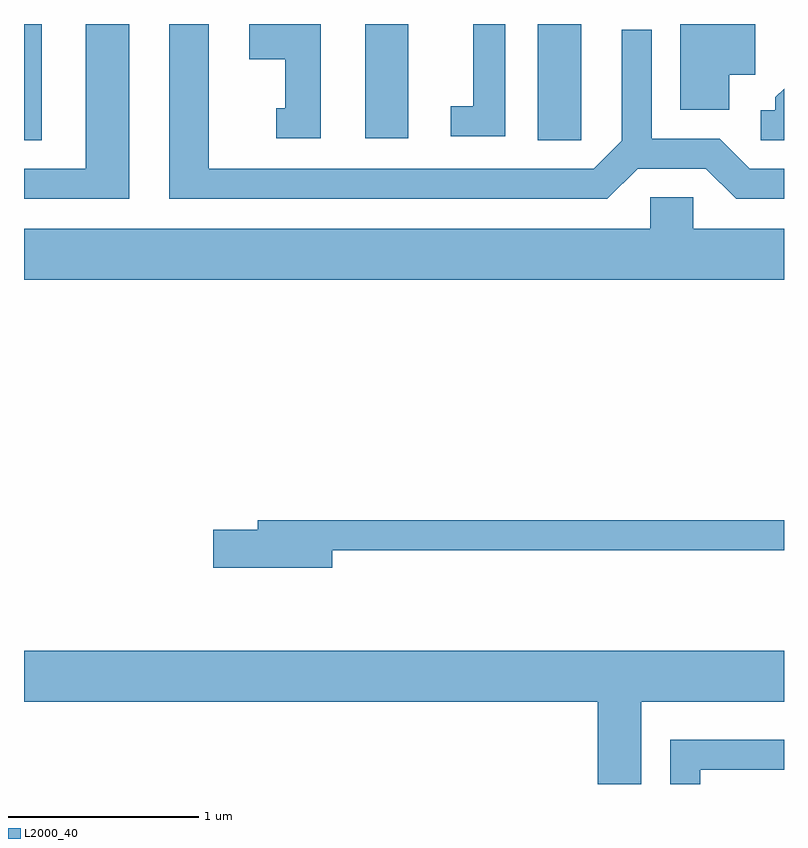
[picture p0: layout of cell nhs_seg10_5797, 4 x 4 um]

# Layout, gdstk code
import gdstk
lib = gdstk.Library(unit=1e-6, precision=1e-09)
def R(c, l, rs):  # rectangles x0, y0, x1, y1
    for r in rs: c.add(gdstk.rectangle(r[:2], r[2:], *l))
def P(c, l, *ps):  # polygons
    for p in ps: c.add(gdstk.Polygon(p, *l))
L2000_40 = (2000, 40)

nhs_seg10_5797 = lib.new_cell('nhs_seg10_5797')
R(nhs_seg10_5797, L2000_40, [(355.611,2187.911,355.704,2188.522), (358.316,2187.911,358.544,2188.522), (357.406,2187.921,357.634,2188.522)])
P(nhs_seg10_5797, L2000_40, [(356.164,2188.522),(355.936,2188.522),(355.936,2187.759),(355.611,2187.759),(355.611,2187.601),(356.164,2187.601)],
  [(358.144,2188.522),(357.976,2188.522),(357.976,2188.089),(357.858,2188.089),(357.858,2187.931),(358.144,2187.931)],
  [(357.174,2188.522),(356.796,2188.522),(356.796,2188.336),(356.986,2188.336),(356.986,2188.079),(356.938,2188.079),(356.938,2187.921),(357.174,2187.921)],
  [(359.324,2188.256),(359.459,2188.256),(359.459,2188.522),(359.066,2188.522),(359.066,2188.071),(359.324,2188.071)],
  [(358.842,2187.761),(359.199,2187.761),(359.359,2187.601),(359.611,2187.601),(359.611,2187.759),(359.432,2187.759),(359.272,2187.919),(358.914,2187.919),(358.914,2188.493),(358.756,2188.493),(358.756,2187.907),(358.609,2187.759),(356.584,2187.759),(356.584,2188.522),(356.376,2188.522),(356.376,2187.601),(358.682,2187.601)],
  [(359.611,2188.182),(359.566,2188.137),(359.566,2188.069),(359.488,2188.069),(359.488,2187.911),(359.611,2187.911)],
  [(359.611,2187.444),(359.134,2187.444),(359.134,2187.609),(358.906,2187.609),(358.906,2187.444),(355.611,2187.444),(355.611,2187.176),(359.611,2187.176)],
  [(357.234,2185.751),(359.611,2185.751),(359.611,2185.909),(356.841,2185.909),(356.841,2185.859),(356.606,2185.859),(356.606,2185.661),(357.234,2185.661)],
  [(358.859,2184.956),(359.611,2184.956),(359.611,2185.224),(355.611,2185.224),(355.611,2184.956),(358.631,2184.956),(358.631,2184.522),(358.859,2184.522)],
  [(359.169,2184.596),(359.611,2184.596),(359.611,2184.754),(359.011,2184.754),(359.011,2184.522),(359.169,2184.522)])

lib.write_gds('nhs_seg10_5797.gds')
